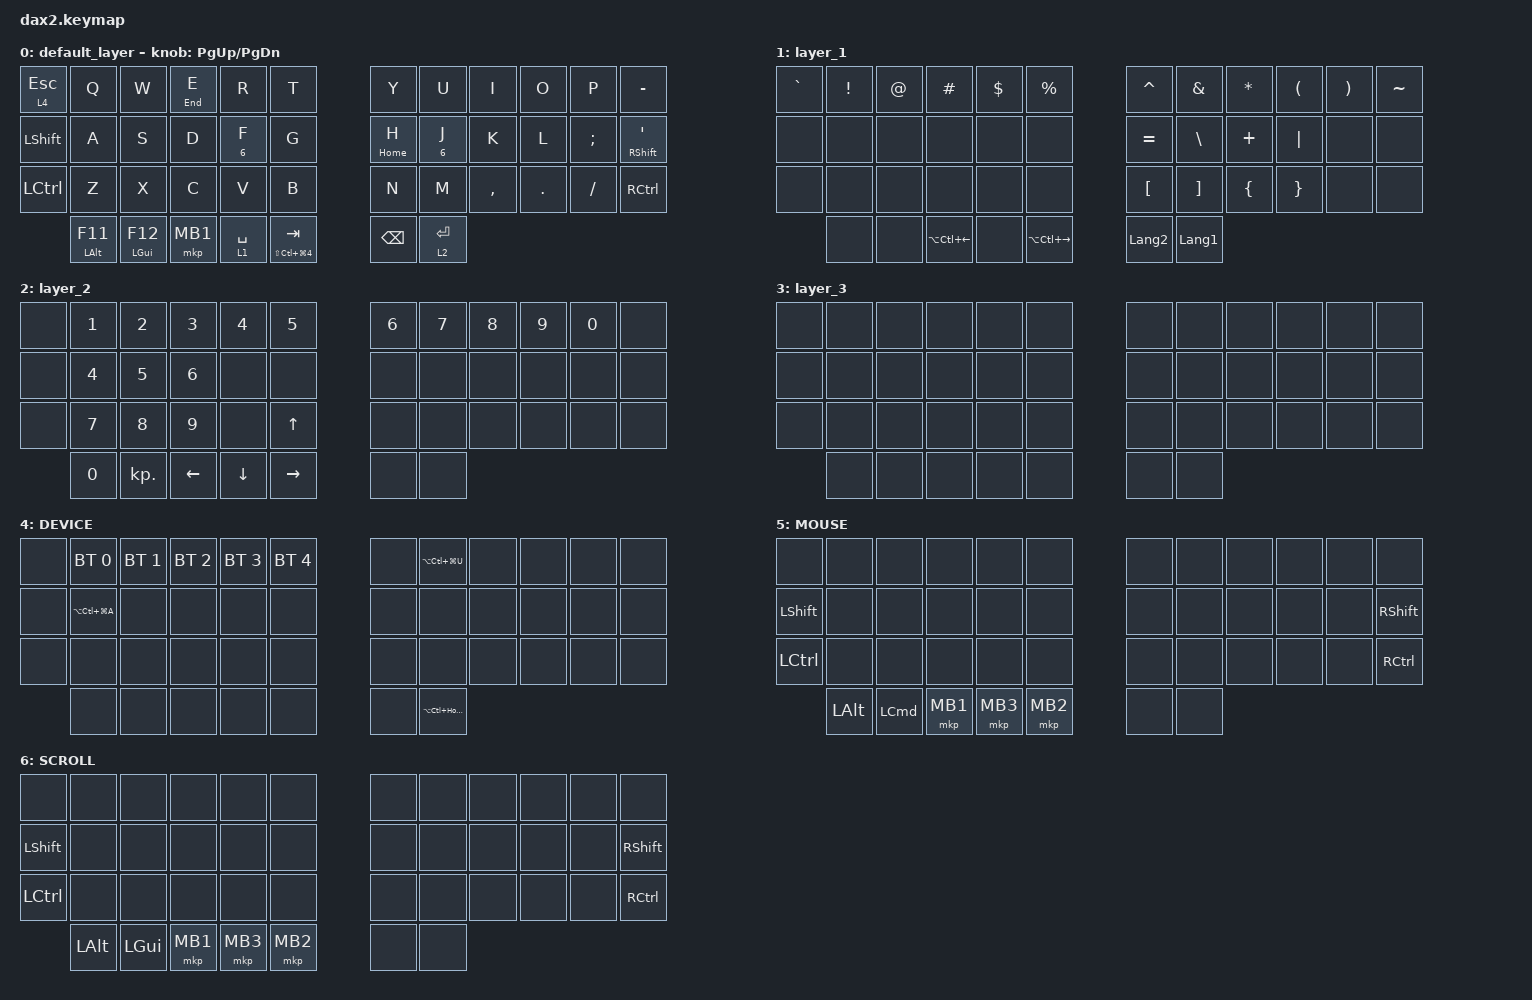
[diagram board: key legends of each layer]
#include <behaviors.dtsi>
#include <dt-bindings/zmk/bt.h>
#include <dt-bindings/zmk/keys.h>
#include <dt-bindings/zmk/pointing.h>

#define ZMK_POINTING_DEFAULT_SCRL_VAL 100
#define JP_DQUOTE       AT                // "

&mt {
    flavor = "balanced";
    quick-tap-ms = <0>;
};

/ {
    combos { compatible = "zmk,combos"; };

    macros {
        to_L0: to_L0 {
            compatible = "zmk,behavior-macro-one-param";
            label = "TO_L0";
            #binding-cells = <1>;
            bindings =
                <&macro_press>,
                <&macro_param_1to1 &mo MACRO_PLACEHOLDER>,
                <&macro_pause_for_release>,
                <&to 0>;
        };
    };

    behaviors {
        lt_to_L0: lt_to_L0 {
            compatible = "zmk,behavior-hold-tap";
            label = "LT_TO_L0";
            #binding-cells = <2>;
            bindings = <&to_L0>, <&kp>;

            tapping-term-ms = <200>;
        };
    };

    keymap {
        compatible = "zmk,keymap";

        default_layer {
            bindings = <
&lt 4 ESCAPE      &kp Q             &kp W             &mt END E  &kp R          &kp T                         &kp Y          &kp U          &kp I      &kp O    &kp P          &kp MINUS
&kp LSHFT         &kp A             &kp S             &kp D      &lt_to_L0 6 F  &kp G                         &mt HOME H     &lt_to_L0 6 J  &kp K      &kp L    &kp SEMICOLON  &mt RIGHT_SHIFT SINGLE_QUOTE
&kp LEFT_CONTROL  &kp Z             &kp X             &kp C      &kp V          &kp B                         &kp N          &kp M          &kp COMMA  &kp DOT  &kp SLASH      &kp RIGHT_CONTROL
                  &mt LEFT_ALT F11  &mt LEFT_GUI F12  &mkp MB1   &lt 1 SPACE    &mt LS(LC(LG(NUMBER_4))) TAB  &kp BACKSPACE  &lt 2 ENTER
            >;

            sensor-bindings = <&inc_dec_kp PG_UP PAGE_DOWN>;
        };

        layer_1 {
            bindings = <
&kp GRAVE  &kp EXCLAMATION  &kp AT_SIGN  &kp HASH          &kp DOLLAR  &kp PERCENT        &kp CARET       &kp AMPERSAND   &kp ASTERISK    &kp LEFT_PARENTHESIS  &kp RIGHT_PARENTHESIS  &kp TILDE
&none      &none            &none        &none             &none       &none              &kp EQUAL       &kp BACKSLASH   &kp PLUS        &kp PIPE              &none                  &none
&none      &none            &none        &none             &none       &none              &kp LBKT        &kp RBKT        &kp LEFT_BRACE  &kp RIGHT_BRACE       &none                  &none
           &none            &none        &kp LA(LC(LEFT))  &none       &kp LA(LC(RIGHT))  &kp LANGUAGE_2  &kp LANGUAGE_1
            >;
        };

        layer_2 {
            bindings = <
&none  &kp N1  &kp N2      &kp N3          &kp N4          &kp N5        &kp N6  &kp N7  &kp N8  &kp N9  &kp N0  &none
&none  &kp N4  &kp N5      &kp N6          &none           &none         &none   &none   &none   &none   &none   &none
&none  &kp N7  &kp N8      &kp N9          &none           &kp UP_ARROW  &none   &none   &none   &none   &none   &none
       &kp N0  &kp KP_DOT  &kp LEFT_ARROW  &kp DOWN_ARROW  &kp RIGHT     &none   &none
            >;
        };

        layer_3 {
            bindings = <
&none  &none  &none  &none  &none  &none  &none  &none  &none  &none  &none  &none
&none  &none  &none  &none  &none  &none  &none  &none  &none  &none  &none  &none
&none  &none  &none  &none  &none  &none  &none  &none  &none  &none  &none  &none
       &none  &none  &none  &none  &none  &none  &none
            >;
        };

        DEVICE {
            bindings = <
&none  &bt BT_SEL 0       &bt BT_SEL 1  &bt BT_SEL 2  &bt BT_SEL 3  &bt BT_SEL 4  &none  &kp LA(LC(LG(U)))  &none  &none  &none  &none
&none  &kp LA(LC(LG(A)))  &none         &none         &none         &none         &none  &none              &none  &none  &none  &none
&none  &none              &none         &none         &none         &none         &none  &none              &none  &none  &none  &none
       &none              &none         &none         &none         &none         &none  &kp LA(LC(HOME))
            >;
        };

        MOUSE {
            bindings = <
&none             &none         &none             &none     &none     &none     &none  &none  &none  &none  &none  &none
&kp LEFT_SHIFT    &none         &none             &none     &none     &none     &none  &none  &none  &none  &none  &kp RIGHT_SHIFT
&kp LEFT_CONTROL  &none         &none             &none     &none     &none     &none  &none  &none  &none  &none  &kp RIGHT_CONTROL
                  &kp LEFT_ALT  &kp LEFT_COMMAND  &mkp MB1  &mkp MB3  &mkp MB2  &none  &none
            >;
        };

        SCROLL {
            bindings = <
&none             &none         &none         &none     &none     &none     &none  &none  &none  &none  &none  &none
&kp LEFT_SHIFT    &none         &none         &none     &none     &none     &none  &none  &none  &none  &none  &kp RIGHT_SHIFT
&kp LEFT_CONTROL  &none         &none         &none     &none     &none     &none  &none  &none  &none  &none  &kp RIGHT_CONTROL
                  &kp LEFT_ALT  &kp LEFT_GUI  &mkp MB1  &mkp MB3  &mkp MB2  &none  &none
            >;
        };
    };
};
